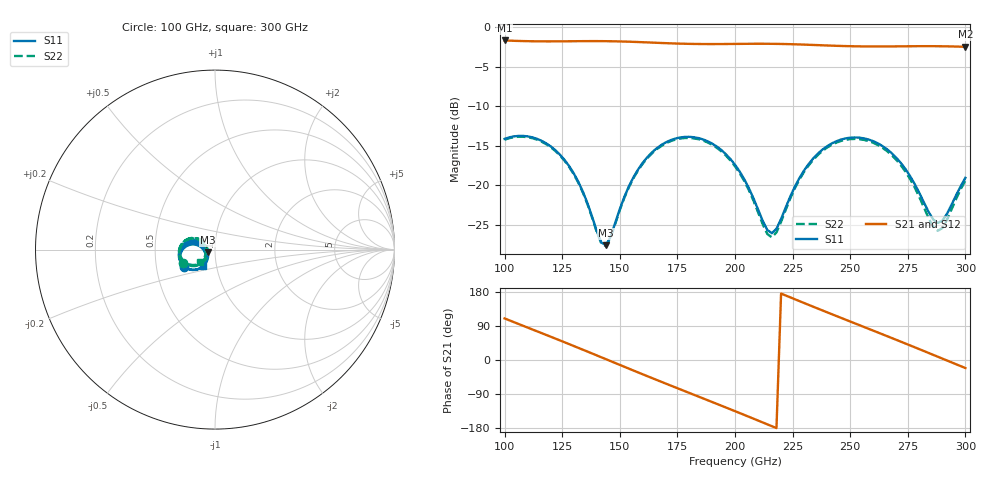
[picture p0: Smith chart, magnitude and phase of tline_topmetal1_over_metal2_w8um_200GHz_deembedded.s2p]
! Created with skrf 2.0.1 (http://scikit-rf.org).
# GHz S DB R 50.0
!freq dBS11 angS11 dBS21 angS21 dBS12 angS12 dBS22 angS22
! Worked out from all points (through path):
!   101 points, 100 GHz to 300 GHz, reference 50 ohm
!   highest |S21| = -1.66 dB at 100 GHz (marker M1); lowest = -2.5 dB at 300 GHz (marker M2)
!   group delay of S21, straight-line fit = 6.82 ps
!   lowest |S11| = -27.6 dB at 144 GHz (marker M3), VSWR 1.09, Z = 46.2 - j1.31 ohm
!   |S11| at or under -10 dB: start of sweep to end of sweep
!   |S22| runs from -27.7 to -13.8 dB; largest |S21 - S12| = 1.3e-13
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100  -14.12 -151.3  -1.66 109.7  -1.66 109.7  -14.22 -156.9
108  -13.74 -167.4  -1.73 90.4  -1.73 90.4  -13.85 -173.3
116  -14.36 177.0  -1.77 71.1  -1.77 71.1  -14.47 170.6
126  -16.78 159.6  -1.76 46.8  -1.76 46.8  -16.89 152.7
134  -20.83 152.4  -1.74 27.1  -1.74 27.1  -20.94 145.1
142  -27.26 -179.6  -1.74 7.1  -1.74 7.1  -27.39 172.6
144  -27.58 -160.3  -1.75 2.1  -1.75 2.1  -27.71 -168.1
156  -18.94 -125.5  -1.83 -27.9  -1.83 -27.9  -19.06 -134.0
168  -14.90 -142.9  -1.98 -57.5  -1.98 -57.5  -15.03 -152.1
176  -13.95 -157.5  -2.06 -76.9  -2.06 -76.9  -14.09 -167.2
184  -14.01 -172.3  -2.10 -96.2  -2.10 -96.2  -14.16 177.5
200  -17.40 162.3  -2.09 -135.0  -2.09 -135.0  -17.59 150.8
208  -21.63 160.5  -2.08 -154.8  -2.08 -154.8  -21.93 148.2
216  -26.07 -162.1  -2.08 -174.7  -2.08 -174.7  -26.60 -173.3
224  -21.42 -126.9  -2.13 165.3  -2.13 165.3  -21.67 -137.8
234  -16.58 -131.7  -2.23 140.5  -2.23 140.5  -16.76 -143.9
244  -14.42 -147.3  -2.33 116.1  -2.33 116.1  -14.59 -160.4
252  -13.94 -161.1  -2.39 96.8  -2.39 96.8  -14.12 -175.0
268  -15.93 173.1  -2.41 58.1  -2.41 58.1  -16.18 157.6
278  -19.84 166.0  -2.38 33.6  -2.38 33.6  -20.28 149.0
288  -24.76 -161.6  -2.39 8.7  -2.39 8.7  -25.76 -176.7
300  -19.05 -125.9  -2.46 -21.2  -2.46 -21.2  -19.39 -139.8
